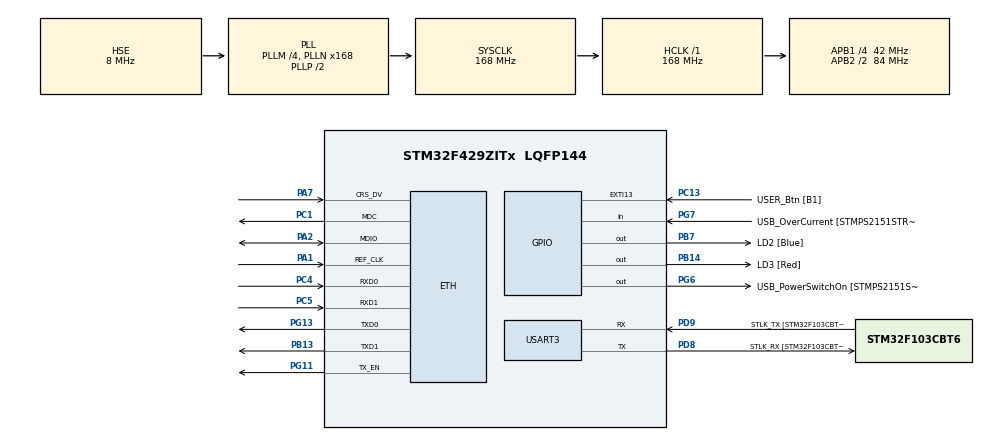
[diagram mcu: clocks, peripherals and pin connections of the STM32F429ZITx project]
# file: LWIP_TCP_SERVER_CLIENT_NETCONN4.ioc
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ETH.MediaInterface=HAL_ETH_RMII_MODE
ETH.RxMode=ETH_RXINTERRUPT_MODE
FREERTOS.Tasks01=defaultTask,24,512,StartDefaultTask,Default,NULL,Dynamic,NULL,NULL
FREERTOS.configUSE_NEWLIB_REENTRANT=1
LWIP.BSP.number=1
LWIP.GATEWAY_ADDRESS=192.168.001.001
LWIP.IP_ADDRESS=192.168.001.130
LWIP.LWIP_DHCP=0
LWIP.LWIP_SO_RCVTIMEO=1
LWIP.LWIP_TCP_KEEPALIVE=1
LWIP.MEM_SIZE=20*1024
LWIP.NETMASK_ADDRESS=255.255.255.000
LWIP.TCP_SND_BUF=2048
LWIP.TCP_WND_UPDATE_THRESHOLD=536
LWIP.Version=v2.1.2_Cube
LWIP0.BSP.STBoard=false
LWIP0.BSP.api=BSP_COMPONENT_DRIVER
LWIP0.BSP.component=LAN8742
LWIP0.BSP.instance=LAN8742
LWIP0.BSP.name=Driver_PHY
LWIP0.BSP.semaphore=S_LAN8742
LWIP0.BSP.solution=LAN8742
Mcu.Family=STM32F4
Mcu.Name=STM32F429ZITx
Mcu.Package=LQFP144
NVIC.ETH_IRQn=true\:6\:0\:true\:false\:true\:true\:false\:true\:true
NVIC.PriorityGroup=NVIC_PRIORITYGROUP_4
NVIC.TIM6_DAC_IRQn=true\:15\:0\:false\:false\:true\:false\:false\:true\:true
NVIC.TimeBase=TIM6_DAC_IRQn
NVIC.TimeBaseIP=TIM6
PA1.GPIO_Mode=GPIO_MODE_AF_PP
PA1.GPIO_PuPd=GPIO_NOPULL
PA1.GPIO_Speed=GPIO_SPEED_FREQ_VERY_HIGH
PA1.Mode=RMII
PA1.Signal=ETH_REF_CLK
PA10.GPIO_Label=USB_ID
PA10.Signal=USB_OTG_FS_ID
PA11.GPIO_Label=USB_DM
PA11.Signal=USB_OTG_FS_DM
PA12.GPIO_Label=USB_DP
PA12.Signal=USB_OTG_FS_DP
PA13.GPIO_Label=TMS
PA13.Mode=Serial_Wire
PA13.Signal=SYS_JTMS-SWDIO
PA14.GPIO_Label=TCK
PA14.Mode=Serial_Wire
PA14.Signal=SYS_JTCK-SWCLK
PA2.GPIO_Mode=GPIO_MODE_AF_PP
PA2.GPIO_PuPd=GPIO_NOPULL
PA2.GPIO_Speed=GPIO_SPEED_FREQ_VERY_HIGH
PA2.Mode=RMII
PA2.Signal=ETH_MDIO
PA7.GPIO_Mode=GPIO_MODE_AF_PP
PA7.GPIO_PuPd=GPIO_NOPULL
PA7.GPIO_Speed=GPIO_SPEED_FREQ_VERY_HIGH
PA7.Mode=RMII
PA7.Signal=ETH_CRS_DV
PA9.GPIO_Label=USB_VBUS
PA9.Signal=USB_OTG_FS_VBUS
PB13.GPIO_Mode=GPIO_MODE_AF_PP
PB13.GPIO_PuPd=GPIO_NOPULL
PB13.GPIO_Speed=GPIO_SPEED_FREQ_VERY_HIGH
PB13.Mode=RMII
PB13.Signal=ETH_TXD1
PB14.GPIO_Label=LD3 [Red]
PB14.Signal=GPIO_Output
PB7.GPIO_Label=LD2 [Blue]
PB7.Signal=GPIO_Output
PC1.GPIO_Mode=GPIO_MODE_AF_PP
PC1.GPIO_PuPd=GPIO_NOPULL
PC1.GPIO_Speed=GPIO_SPEED_FREQ_VERY_HIGH
PC1.Mode=RMII
PC1.Signal=ETH_MDC
PC13.GPIO_Label=USER_Btn [B1]
PC13.Signal=GPXTI13
PC14/OSC32_IN.Signal=RCC_OSC32_IN
PC15/OSC32_OUT.Signal=RCC_OSC32_OUT
PC4.GPIO_Mode=GPIO_MODE_AF_PP
PC4.GPIO_PuPd=GPIO_NOPULL
PC4.GPIO_Speed=GPIO_SPEED_FREQ_VERY_HIGH
PC4.Mode=RMII
PC4.Signal=ETH_RXD0
PC5.GPIO_Mode=GPIO_MODE_AF_PP
PC5.GPIO_PuPd=GPIO_NOPULL
PC5.GPIO_Speed=GPIO_SPEED_FREQ_VERY_HIGH
PC5.Mode=RMII
PC5.Signal=ETH_RXD1
PD8.GPIO_Label=STLK_RX [STM32F103CBT6_PA3]
PD8.Mode=Asynchronous
PD8.Signal=USART3_TX
PD9.GPIO_Label=STLK_TX [STM32F103CBT6_PA2]
PD9.Mode=Asynchronous
PD9.Signal=USART3_RX
PG11.GPIO_Mode=GPIO_MODE_AF_PP
PG11.GPIO_PuPd=GPIO_NOPULL
PG11.GPIO_Speed=GPIO_SPEED_FREQ_VERY_HIGH
PG11.Mode=RMII
PG11.Signal=ETH_TX_EN
PG13.GPIO_Mode=GPIO_MODE_AF_PP
PG13.GPIO_PuPd=GPIO_NOPULL
PG13.GPIO_Speed=GPIO_SPEED_FREQ_VERY_HIGH
PG13.Mode=RMII
PG13.Signal=ETH_TXD0
PG6.GPIO_Label=USB_PowerSwitchOn [STMPS2151STR_EN]
PG6.Signal=GPIO_Output
PG7.GPIO_Label=USB_OverCurrent [STMPS2151STR_FAULT]
PG7.Signal=GPIO_Input
PH0/OSC_IN.GPIO_Label=MCO [STM32F103CBT6_PA8]
PH0/OSC_IN.Mode=HSE-External-Oscillator
PH0/OSC_IN.Signal=RCC_OSC_IN
PH1/OSC_OUT.Mode=HSE-External-Oscillator
PH1/OSC_OUT.Signal=RCC_OSC_OUT
ProjectManager.HeapSize=0x200
ProjectManager.StackSize=0x400
ProjectManager.TargetToolchain=STM32CubeIDE
RCC.48MHZClocksFreq_Value=48000000
RCC.AHBFreq_Value=168000000
RCC.APB1CLKDivider=RCC_HCLK_DIV4
RCC.APB1Freq_Value=42000000
RCC.APB1TimFreq_Value=84000000
RCC.APB2CLKDivider=RCC_HCLK_DIV2
RCC.APB2Freq_Value=84000000
RCC.APB2TimCLKDivider=2
RCC.APB2TimFreq_Value=168000000
RCC.CortexFreq_Value=168000000
RCC.HCLKFreq_Value=168000000
RCC.HSE_VALUE=8000000
RCC.HSI_VALUE=16000000
RCC.LSE_VALUE=32768
RCC.PLLM=4
RCC.PLLMUL=RCC_PLL_MUL9
RCC.PLLN=168
RCC.PLLQ=7
RCC.PLLSourceVirtual=RCC_PLLSOURCE_HSE
RCC.PRESCALERUSB=RCC_USBCLKSOURCE_PLL_DIV1_5
RCC.SYSCLKFreq_VALUE=168000000
RCC.SYSCLKSource=RCC_SYSCLKSOURCE_PLLCLK
RCC.SYSCLKSourceVirtual=RCC_SYSCLKSOURCE_PLLCLK
RCC.USBFreq_Value=48000000
RCC.VCOOutputFreq_Value=336000000
USART3.VirtualMode=VM_ASYNC
VP_FREERTOS_VS_CMSIS_V2.Mode=CMSIS_V2
VP_LWIP_VS_Enabled.Mode=Enabled
VP_SYS_VS_tim6.Mode=TIM6
board=NUCLEO-F429ZI

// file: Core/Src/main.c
/* USER CODE BEGIN Header */
/**
  ******************************************************************************
  * @file           : main.c
  * @brief          : Main program body
  ******************************************************************************
  * @attention
  *
  * Copyright (c) 2024 STMicroelectronics.
  * All rights reserved.
  *
  * This software is licensed under terms that can be found in the LICENSE file
  * in the root directory of this software component.
  * If no LICENSE file comes with this software, it is provided AS-IS.
  *
  ******************************************************************************
  */
/* USER CODE END Header */
#include "main.h"
#include "cmsis_os.h"
#include "lwip.h"

/* USER CODE BEGIN Includes */
#include "tcpserver.h"
#include "string.h"

/* USER CODE END Includes */

UART_HandleTypeDef huart3;

/* Definitions for defaultTask */
osThreadId_t defaultTaskHandle;
const osThreadAttr_t defaultTask_attributes = {
  .name = "defaultTask",
  .stack_size = 512 * 4,
  .priority = (osPriority_t) osPriorityNormal,
};
/* USER CODE BEGIN PV */

// Supongamos que este es el estado de las coils (256 coils, todas inicializadas en OFF).
uint8_t coil_status[256] = {1};

/* USER CODE END PV */

void SystemClock_Config(void);
static void MX_GPIO_Init(void);
static void MX_USART3_UART_Init(void);
void StartDefaultTask(void *argument);

int main(void)
{

  /* USER CODE BEGIN 1 */

	// Configuramos algunos estados de coils para el ejemplo
    coil_status[0] = 1;
    coil_status[1] = 0;
    coil_status[2] = 0;
    coil_status[3] = 1;
    coil_status[4] = 0;
    coil_status[5] = 0;
    coil_status[6] = 0;
    coil_status[7] = 1;

    coil_status[8] = 1;
    coil_status[15] = 1;

    coil_status[16] = 0;
    coil_status[23] = 1;

    coil_status[24] = 1;
    coil_status[31] = 1;

  /* USER CODE END 1 */

  /* MCU Configuration--------------------------------------------------------*/

  /* Reset of all peripherals, Initializes the Flash interface and the Systick. */
  HAL_Init();

  /* Configure the system clock */
  SystemClock_Config();

  /* Initialize all configured peripherals */
  MX_GPIO_Init();
  MX_USART3_UART_Init();

  /* Init scheduler */
  osKernelInitialize();

  /* Create the thread(s) */
  /* creation of defaultTask */
  defaultTaskHandle = osThreadNew(StartDefaultTask, NULL, &defaultTask_attributes);

  /* Start scheduler */
  osKernelStart();

  /* We should never get here as control is now taken by the scheduler */

  /* Infinite loop */
  while (1)
  {

  }
}

void SystemClock_Config(void)
{
  RCC_OscInitTypeDef RCC_OscInitStruct = {0};
  RCC_ClkInitTypeDef RCC_ClkInitStruct = {0};

  /** Configure the main internal regulator output voltage
  */
  __HAL_RCC_PWR_CLK_ENABLE();
  __HAL_PWR_VOLTAGESCALING_CONFIG(PWR_REGULATOR_VOLTAGE_SCALE1);

  /** Initializes the RCC Oscillators according to the specified parameters
  * in the RCC_OscInitTypeDef structure.
  */
  RCC_OscInitStruct.OscillatorType = RCC_OSCILLATORTYPE_HSE;
  RCC_OscInitStruct.HSEState = RCC_HSE_ON;
  RCC_OscInitStruct.PLL.PLLState = RCC_PLL_ON;
  RCC_OscInitStruct.PLL.PLLSource = RCC_PLLSOURCE_HSE;
  RCC_OscInitStruct.PLL.PLLM = 4;
  RCC_OscInitStruct.PLL.PLLN = 168;
  RCC_OscInitStruct.PLL.PLLP = RCC_PLLP_DIV2;
  RCC_OscInitStruct.PLL.PLLQ = 7;
  if (HAL_RCC_OscConfig(&RCC_OscInitStruct) != HAL_OK)
  {
    Error_Handler();
  }

  /** Initializes the CPU, AHB and APB buses clocks
  */
  RCC_ClkInitStruct.ClockType = RCC_CLOCKTYPE_HCLK|RCC_CLOCKTYPE_SYSCLK
                              |RCC_CLOCKTYPE_PCLK1|RCC_CLOCKTYPE_PCLK2;
  RCC_ClkInitStruct.SYSCLKSource = RCC_SYSCLKSOURCE_PLLCLK;
  RCC_ClkInitStruct.AHBCLKDivider = RCC_SYSCLK_DIV1;
  RCC_ClkInitStruct.APB1CLKDivider = RCC_HCLK_DIV4;
  RCC_ClkInitStruct.APB2CLKDivider = RCC_HCLK_DIV2;

  if (HAL_RCC_ClockConfig(&RCC_ClkInitStruct, FLASH_LATENCY_5) != HAL_OK)
  {
    Error_Handler();
  }
}

static void MX_USART3_UART_Init(void)
{

  huart3.Instance = USART3;
  huart3.Init.BaudRate = 115200;
  huart3.Init.WordLength = UART_WORDLENGTH_8B;
  huart3.Init.StopBits = UART_STOPBITS_1;
  huart3.Init.Parity = UART_PARITY_NONE;
  huart3.Init.Mode = UART_MODE_TX_RX;
  huart3.Init.HwFlowCtl = UART_HWCONTROL_NONE;
  huart3.Init.OverSampling = UART_OVERSAMPLING_16;
  if (HAL_UART_Init(&huart3) != HAL_OK)
  {
    Error_Handler();
  }

}

static void MX_GPIO_Init(void)
{
  GPIO_InitTypeDef GPIO_InitStruct = {0};

  /* GPIO Ports Clock Enable */
  __HAL_RCC_GPIOC_CLK_ENABLE();
  __HAL_RCC_GPIOH_CLK_ENABLE();
  __HAL_RCC_GPIOA_CLK_ENABLE();
  __HAL_RCC_GPIOB_CLK_ENABLE();
  __HAL_RCC_GPIOD_CLK_ENABLE();
  __HAL_RCC_GPIOG_CLK_ENABLE();

  /*Configure GPIO pin Output Level */
  HAL_GPIO_WritePin(GPIOB, LD3_Pin|LD2_Pin, GPIO_PIN_RESET);

  /*Configure GPIO pin Output Level */
  HAL_GPIO_WritePin(USB_PowerSwitchOn_GPIO_Port, USB_PowerSwitchOn_Pin, GPIO_PIN_RESET);

  /*Configure GPIO pin : USER_Btn_Pin */
  GPIO_InitStruct.Pin = USER_Btn_Pin;
  GPIO_InitStruct.Mode = GPIO_MODE_IT_RISING;
  GPIO_InitStruct.Pull = GPIO_NOPULL;
  HAL_GPIO_Init(USER_Btn_GPIO_Port, &GPIO_InitStruct);

  /*Configure GPIO pins : LD3_Pin LD2_Pin */
  GPIO_InitStruct.Pin = LD3_Pin|LD2_Pin;
  GPIO_InitStruct.Mode = GPIO_MODE_OUTPUT_PP;
  GPIO_InitStruct.Pull = GPIO_NOPULL;
  GPIO_InitStruct.Speed = GPIO_SPEED_FREQ_LOW;
  HAL_GPIO_Init(GPIOB, &GPIO_InitStruct);

  /*Configure GPIO pin : USB_PowerSwitchOn_Pin */
  GPIO_InitStruct.Pin = USB_PowerSwitchOn_Pin;
  GPIO_InitStruct.Mode = GPIO_MODE_OUTPUT_PP;
  GPIO_InitStruct.Pull = GPIO_NOPULL;
  GPIO_InitStruct.Speed = GPIO_SPEED_FREQ_LOW;
  HAL_GPIO_Init(USB_PowerSwitchOn_GPIO_Port, &GPIO_InitStruct);

  /*Configure GPIO pin : USB_OverCurrent_Pin */
  GPIO_InitStruct.Pin = USB_OverCurrent_Pin;
  GPIO_InitStruct.Mode = GPIO_MODE_INPUT;
  GPIO_InitStruct.Pull = GPIO_NOPULL;
  HAL_GPIO_Init(USB_OverCurrent_GPIO_Port, &GPIO_InitStruct);

  /*Configure GPIO pin : USB_VBUS_Pin */
  GPIO_InitStruct.Pin = USB_VBUS_Pin;
  GPIO_InitStruct.Mode = GPIO_MODE_INPUT;
  GPIO_InitStruct.Pull = GPIO_NOPULL;
  HAL_GPIO_Init(USB_VBUS_GPIO_Port, &GPIO_InitStruct);

  /*Configure GPIO pins : USB_ID_Pin USB_DM_Pin USB_DP_Pin */
  GPIO_InitStruct.Pin = USB_ID_Pin|USB_DM_Pin|USB_DP_Pin;
  GPIO_InitStruct.Mode = GPIO_MODE_AF_PP;
  GPIO_InitStruct.Pull = GPIO_NOPULL;
  GPIO_InitStruct.Speed = GPIO_SPEED_FREQ_VERY_HIGH;
  GPIO_InitStruct.Alternate = GPIO_AF10_OTG_FS;
  HAL_GPIO_Init(GPIOA, &GPIO_InitStruct);

}

/* USER CODE BEGIN 4 */

void SendString(const char *str) {
	HAL_UART_Transmit(&huart3, (uint8_t *)str, strlen(str), HAL_MAX_DELAY);

}

/* USER CODE END 4 */

void StartDefaultTask(void *argument)
{
  /* init code for LWIP */
  MX_LWIP_Init();
  /* USER CODE BEGIN 5 */
  tcpserver_init();

  const char *mensaje = "I'm alive!!!\n";
  const char *mensaje_bienvenida = "inicio Modbus TCP Remoto en modo Servidor\n";

  SendString(mensaje_bienvenida);

  //ITM_SendString(mensaje_bienvenida);

  /* Infinite loop */
  for(;;)
  {
	  //SendString(mensaje);
	  osDelay(500);

	  osDelay(1);
  }
  /* USER CODE END 5 */
}

void HAL_TIM_PeriodElapsedCallback(TIM_HandleTypeDef *htim)
{
  if (htim->Instance == TIM6) {
    HAL_IncTick();
  }
}

void Error_Handler(void)
{
  __disable_irq();
  while (1)
  {
  }
}
